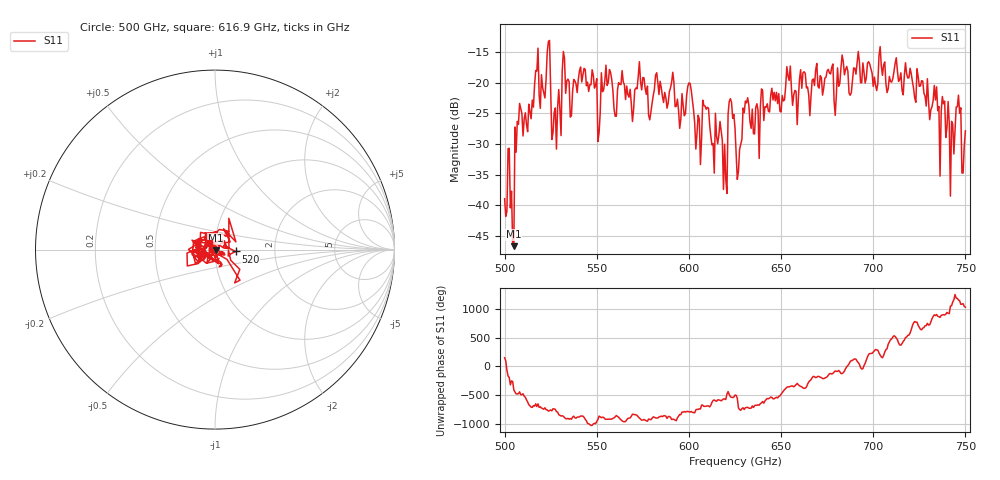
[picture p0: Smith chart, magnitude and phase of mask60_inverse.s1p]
!Created with skrf (http://scikit-rf.org).
# GHz S MA R 50.0
!freq magS11 angS11
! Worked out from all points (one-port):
!   401 points, 500 GHz to 750 GHz, reference 50 ohm
!   lowest |S11| = -46.7 dB at 505 GHz (marker M1), VSWR 1.01, Z = 50.3 - j0.358 ohm
!   |S11| at or under -10 dB: start of sweep to end of sweep
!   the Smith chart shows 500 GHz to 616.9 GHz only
!   S11 on the Smith chart (normalised r, x): 500 GHz: 0.98, +0.01; 520 GHz: 1.26, -0.03; 616.9 GHz: 0.94, +0.07
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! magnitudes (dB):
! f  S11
! 500 GHz  -38.9
! 505 GHz  -46.7
! 508.1 GHz  -23.4
! 520 GHz  -18.7
! 523.8 GHz  -13.3
! 526.9 GHz  -24.9
! 531.2 GHz  -18.2
! 548.8 GHz  -20.9
! 551.9 GHz  -24.9
! 553.8 GHz  -21.2
! 562.5 GHz  -20.3
! 593.8 GHz  -22.7
! 600 GHz  -20.1
! 605 GHz  -25.3
! 608.8 GHz  -23.8
! 612.5 GHz  -30.2
! 616.9 GHz  -26.3
! 619.4 GHz  -30.0
! 622.5 GHz  -22.6
! 625 GHz  -27.4
! 627.5 GHz  -30.9
! 630.6 GHz  -23.0
! 656.2 GHz  -23.7
! 687.5 GHz  -22.1
! 718.8 GHz  -19.3
! 743.1 GHz  -26.8
! 746.2 GHz  -22.1
! 750 GHz  -27.9
